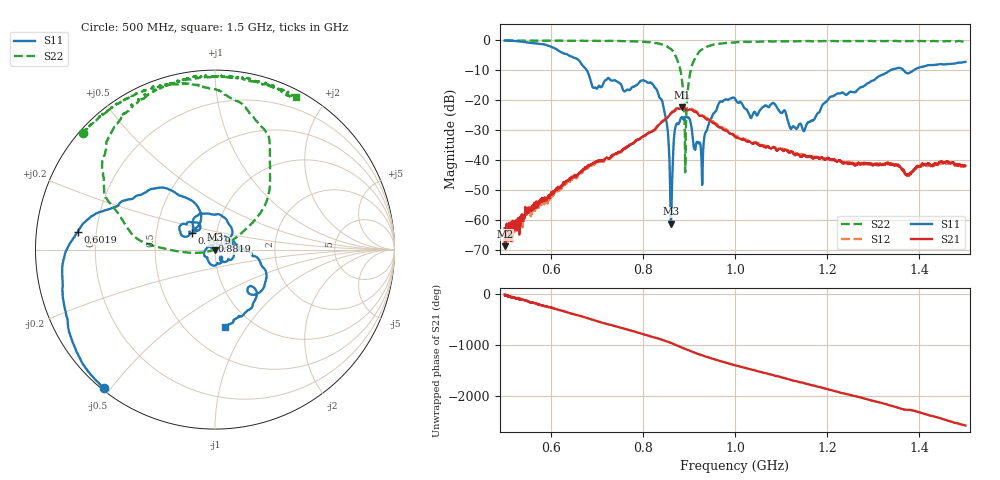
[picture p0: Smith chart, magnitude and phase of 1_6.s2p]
!Agilent Technologies,E8364B,US42250235,A.06.04.32
!Agilent E8364B: A.06.04.32
!Date: Friday, January 15, 2021 12:32:51
!Correction: S11(Full 2 Port(1,2)) S21(Full 2 Port(1,2)) S12(Full 2 Port(1,2)) S22(Full 2 Port(1,2))
!S2P File: Measurements: S11, S21, S12, S22:
# Hz S  dB  R 50
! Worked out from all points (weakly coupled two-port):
!   1601 points, 500 MHz to 1.5 GHz, reference 50 ohm
!   highest |S21| = -22.42 dB at 885 MHz (marker M1); lowest = -68.6 dB at 500.6 MHz (marker M2)
!   lowest |S11| = -61.1 dB at 861.2 MHz (marker M3), VSWR 1.00, Z = 49.9 - j0.0256 ohm
!   |S11| at or under -10 dB: 678.1 MHz to 1.338 GHz (659.5 MHz wide, 65.4 % of centre); 1.366 GHz to 1.388 GHz (22.17 MHz wide, 1.61 % of centre)
!   |S22| runs from -44.0 to -0.1 dB; largest |S21 - S12| = 0.0099
!   S11 on the Smith chart (normalised r, x): 500 MHz: 0.01, -0.48; 601.9 MHz: 0.13, +0.06; 701.9 MHz: 0.76, +0.14; 881.9 MHz: 0.96, +0.09; 1.5 GHz: 0.76, -0.80
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5e8  -0.09 -128.9  -62.63 -13.7  -63.75 -25.5  -0.15 138.4
5.00625e8  -0.09 -129.2  -68.62 -40.9  -64.44 -16.2  -0.15 138.4
6.01875e8  -2.26 172.5  -51.53 91.9  -51.72 83.6  -0.20 129.2
6.66875e8  -7.89 126.0  -43.89 -78.8  -44.23 -74.8  -0.18 122.1
7.01875e8  -15.94 144.9  -40.15 -175.2  -40.62 -171.8  -0.24 118.3
8.3375e8  -18.16 40.8  -28.38 -152.3  -28.28 -146.3  -1.09 87.9
8.5e8  -26.27 3.9  -26.21 157.8  -26.19 164.3  -1.83 77.8
8.6125e8  -61.15 -163.0  -24.32 122.4  -24.22 129.8  -3.01 65.5
8.70625e8  -29.06 129.5  -23.26 89.3  -22.99 95.2  -5.08 56.6
8.81875e8  -26.15 111.4  -22.69 44.8  -22.28 51.3  -10.27 38.1
8.85e8  -25.61 98.1  -22.42 31.7  -22.11 38.1  -13.34 33.8
8.93125e8  -25.51 76.4  -23.01 0.6  -22.59 6.6  -30.99 -163.5
9.05e8  -28.41 37.2  -23.11 -40.2  -22.75 -34.9  -9.26 176.5
9.26875e8  -38.29 30.3  -25.17 -111.5  -24.79 -107.2  -3.22 153.2
9.65625e8  -20.95 55.1  -29.01 136.6  -28.47 140.6  -1.16 130.9
1e9  -19.45 -31.9  -32.13 47.0  -31.66 52.7  -0.76 120.5
1.034375e9  -25.91 -53.6  -34.07 -34.0  -33.93 -27.5  -0.52 113.7
1.084375e9  -21.04 -99.9  -35.63 -148.9  -35.70 -142.8  -0.44 106.8
1.123125e9  -29.20 145.7  -37.05 118.8  -37.30 123.8  -0.33 102.6
1.166875e9  -26.67 42.5  -38.91 17.8  -38.73 27.4  -0.38 97.5
1.33375e9  -10.31 -22.5  -41.04 -6.7  -41.17 2.7  -0.30 81.0
1.5e9  -7.23 -82.3  -41.83 -45.2  -42.21 -43.7  -0.34 61.9
